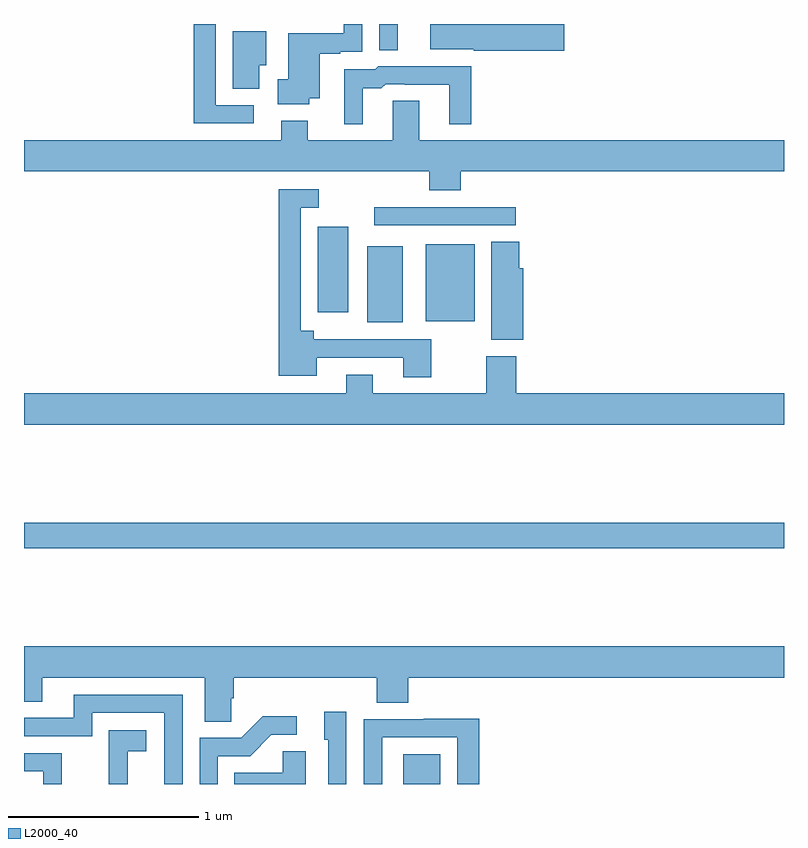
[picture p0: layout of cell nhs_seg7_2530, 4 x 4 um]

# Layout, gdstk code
import gdstk
lib = gdstk.Library(unit=1e-6, precision=1e-09)
def R(c, l, rs):  # rectangles x0, y0, x1, y1
    for r in rs: c.add(gdstk.rectangle(r[:2], r[2:], *l))
def P(c, l, *ps):  # polygons
    for p in ps: c.add(gdstk.Polygon(p, *l))
L2000_40 = (2000, 40)

nhs_seg7_2530 = lib.new_cell('nhs_seg7_2530')
R(nhs_seg7_2530, L2000_40, [(276.995,1056,277.192,1056.157), (275,1057.24,279,1057.376), (276.806,1058.429,276.994,1058.83), (277.115,1058.435,277.372,1058.842), (276.545,1058.484,276.706,1058.932), (276.843,1058.94,277.588,1059.036), (276.87,1059.862,276.967,1060)])
P(nhs_seg7_2530, L2000_40, [(277.843,1060),(277.137,1060),(277.137,1059.866),(277.368,1059.866),(277.368,1059.859),(277.843,1059.859)],
  [(276.208,1059.573),(276.009,1059.573),(276.009,1060),(275.893,1060),(275.893,1059.477),(276.208,1059.477)],
  [(276.502,1059.608),(276.556,1059.608),(276.556,1059.843),(276.665,1059.843),(276.665,1059.855),(276.78,1059.855),(276.78,1060),(276.684,1060),(276.684,1059.951),(276.392,1059.951),(276.392,1059.708),(276.336,1059.708),(276.336,1059.578),(276.502,1059.578)],
  [(276.238,1059.782),(276.274,1059.782),(276.274,1059.961),(276.098,1059.961),(276.098,1059.658),(276.238,1059.658)],
  [(276.784,1059.662),(276.881,1059.662),(276.903,1059.684),(277.003,1059.684),(277.003,1059.681),(277.238,1059.681),(277.238,1059.473),(277.355,1059.473),(277.355,1059.777),(276.864,1059.777),(276.849,1059.762),(276.686,1059.762),(276.686,1059.473),(276.784,1059.473)],
  [(277.298,1059.224),(279,1059.224),(279,1059.388),(277.081,1059.388),(277.081,1059.596),(276.941,1059.596),(276.941,1059.388),(276.493,1059.388),(276.493,1059.49),(276.353,1059.49),(276.353,1059.388),(275,1059.388),(275,1059.224),(277.133,1059.224),(277.133,1059.125),(277.298,1059.125)],
  [(277.143,1058.34),(276.526,1058.34),(276.526,1058.386),(276.456,1058.386),(276.456,1059.033),(276.55,1059.033),(276.55,1059.129),(276.34,1059.129),(276.34,1058.15),(276.541,1058.15),(276.541,1058.244),(276.995,1058.244),(276.995,1058.142),(277.143,1058.142)],
  [(277.628,1058.715),(277.607,1058.715),(277.607,1058.855),(277.46,1058.855),(277.46,1058.339),(277.628,1058.339)],
  [(279,1058.056),(277.592,1058.056),(277.592,1058.251),(277.432,1058.251),(277.432,1058.056),(276.835,1058.056),(276.835,1058.155),(276.695,1058.155),(276.695,1058.056),(275,1058.056),(275,1057.892),(279,1057.892)],
  [(276.09,1056.451),(276.104,1056.451),(276.104,1056.56),(276.857,1056.56),(276.857,1056.427),(277.022,1056.427),(277.022,1056.56),(279,1056.56),(279,1056.724),(275,1056.724),(275,1056.433),(275.095,1056.433),(275.095,1056.56),(275.951,1056.56),(275.951,1056.328),(276.09,1056.328)],
  [(275.835,1056.471),(275.261,1056.471),(275.261,1056.348),(275,1056.348),(275,1056.252),(275.358,1056.252),(275.358,1056.375),(275.739,1056.375),(275.739,1056),(275.835,1056)],
  [(276.696,1056.379),(276.581,1056.379),(276.581,1056.234),(276.6,1056.234),(276.6,1056),(276.696,1056)],
  [(276.021,1056.147),(276.19,1056.147),(276.301,1056.258),(276.436,1056.258),(276.436,1056.356),(276.257,1056.356),(276.144,1056.243),(275.925,1056.243),(275.925,1056),(276.021,1056)],
  [(276.885,1056.246),(277.281,1056.246),(277.281,1056),(277.397,1056),(277.397,1056.344),(277.105,1056.344),(277.105,1056.342),(276.789,1056.342),(276.789,1056),(276.885,1056)],
  [(275.546,1056.173),(275.644,1056.173),(275.644,1056.283),(275.446,1056.283),(275.446,1056.077),(275.447,1056.077),(275.447,1056),(275.546,1056)],
  [(276.484,1056.173),(276.363,1056.173),(276.363,1056.058),(276.106,1056.058),(276.106,1056),(276.484,1056)],
  [(275.199,1056.162),(275,1056.162),(275,1056.066),(275.1,1056.066),(275.1,1056),(275.199,1056)])

lib.write_gds('nhs_seg7_2530.gds')
